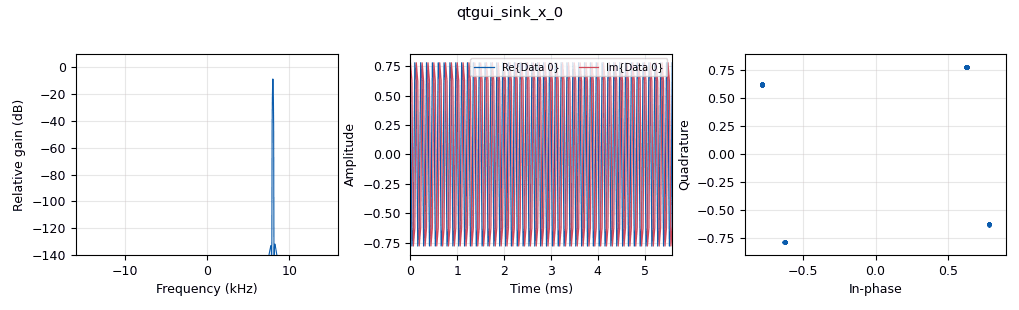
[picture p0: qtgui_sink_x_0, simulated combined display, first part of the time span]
options:
  parameters:
    author: sdr
    generate_options: qt_gui
    id: geolocation_sim
    output_language: python
    title: Not titled yet
  states: {}

blocks:
- name: fc
  id: variable
  parameters:
    value: 1e6
  states: {}
- name: samp_rate
  id: variable
  parameters:
    value: '32000'
  states: {}
- name: analog_sig_source_x_0
  id: analog_sig_source_x
  parameters:
    amp: '1'
    freq: '1000'
    offset: '0'
    phase: '0'
    samp_rate: samp_rate
    type: float
    waveform: analog.GR_CONST_WAVE
  states: {}
- name: blocks_vco_c_0
  id: blocks_vco_c
  parameters:
    amplitude: '1'
    samp_rate: samp_rate
    sensitivity: 2*math.pi*fc
  states: {}
- name: import_0
  id: import
  parameters:
    imports: import math
  states: {}
- name: qtgui_sink_x_0
  id: qtgui_sink_x
  parameters:
    bw: samp_rate
    fc: '0'
    fftsize: '1024'
    type: complex
  states: {}

connections:
- [analog_sig_source_x_0, '0', blocks_vco_c_0, '0']
- [blocks_vco_c_0, '0', qtgui_sink_x_0, '0']

metadata:
  file_format: 1
  grc_version: 3.10.9.2
